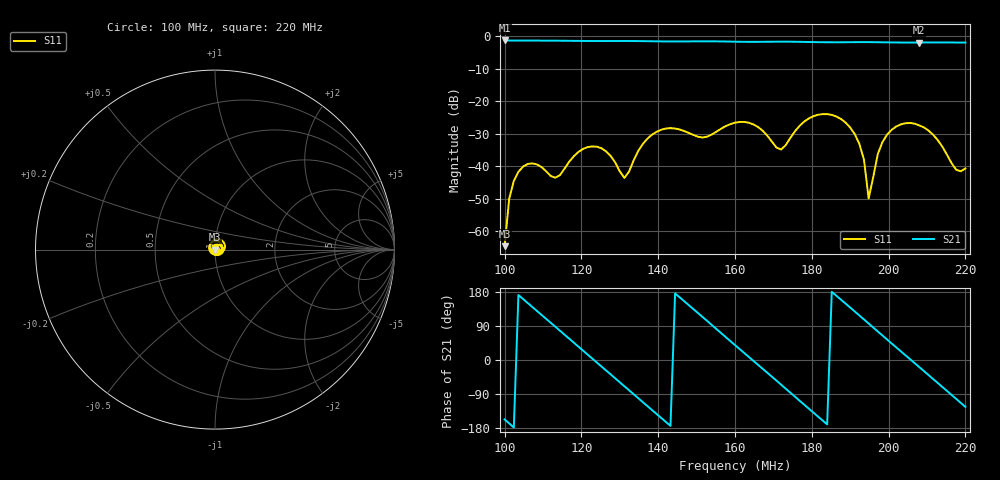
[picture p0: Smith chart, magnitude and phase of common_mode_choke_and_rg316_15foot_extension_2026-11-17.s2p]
# HZ S RI R 50
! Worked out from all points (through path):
!   101 points, 100 MHz to 220 MHz, reference 50 ohm
!   highest |S21| = -1.26 dB at 100 MHz (marker M1); lowest = -1.9 dB at 208 MHz (marker M2)
!   group delay of S21, straight-line fit = 24.2 ns
!   lowest |S11| = -64.6 dB at 100 MHz (marker M3), VSWR 1.00, Z = 50.1 - j0.00911 ohm
!   |S11| at or under -10 dB: start of sweep to end of sweep
!   S12 and S22 are empty: the file has one direction only
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1e8  0.00058 -9.1e-05  -0.795 -0.3404  0 0  0 0
1.012e8  0.00035 0.00315  -0.8428 -0.1883  0 0  0 0
1.036e8  0.00287 0.00769  -0.8525 0.1277  0 0  0 0
1.12e8  0.00592 0.00387  -0.1245 0.8499  0 0  0 0
1.204e8  0.0124 0.0137  0.7707 0.3591  0 0  0 0
1.252e8  0.0189 0.000683  0.8109 -0.2467  0 0  0 0
1.312e8  -0.00385 -0.00537  0.3005 -0.7938  0 0  0 0
1.408e8  0.0234 0.028  -0.7459 -0.3794  0 0  0 0
1.516e8  -0.0146 -0.0235  -0.3288 0.772  0 0  0 0
1.6e8  9.06e-05 0.0468  0.6398 0.5249  0 0  0 0
1.66e8  0.0395 0.00749  0.8032 -0.1815  0 0  0 0
1.72e8  -0.0102 -0.0149  0.3499 -0.7504  0 0  0 0
1.804e8  0.00917 0.0581  -0.6132 -0.5393  0 0  0 0
1.852e8  0.054 0.0298  -0.8109 0.00197  0 0  0 0
1.912e8  0.0264 -0.0164  -0.5004 0.6422  0 0  0 0
1.936e8  0.00773 -0.00983  -0.2365 0.78  0 0  0 0
1.948e8  0.00237 -0.00214  -0.0897 0.81  0 0  0 0
1.972e8  0.00311 0.0152  0.2084 0.785  0 0  0 0
2.008e8  0.0259 0.0256  0.5836 0.5571  0 0  0 0
2.08e8  0.0365 -0.0218  0.7564 -0.258  0 0  0 0
2.14e8  -0.00616 -0.019  0.2605 -0.7637  0 0  0 0
2.2e8  -0.000189 0.00924  -0.4437 -0.6678  0 0  0 0
